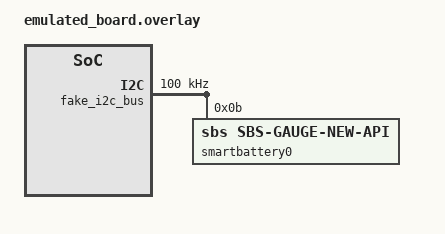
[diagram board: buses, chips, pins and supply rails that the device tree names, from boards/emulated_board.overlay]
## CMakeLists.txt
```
# SPDX-License-Identifier: Apache-2.0

cmake_minimum_required(VERSION 3.28.0)
find_package(Zephyr REQUIRED HINTS $ENV{ZEPHYR_BASE})
project(device)

target_sources(app PRIVATE src/test_sbs_gauge.c)
target_sources_ifndef(CONFIG_TEST_SBS_CUTOFF_EXTENSION app PRIVATE src/test_cutoff_disabled.c)
target_sources_ifdef(CONFIG_TEST_SBS_CUTOFF_EXTENSION app PRIVATE src/test_cutoff.c)

target_include_directories(app PRIVATE include)
```

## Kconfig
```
# Copyright 2023 Google LLC
#
# SPDX-License-Identifier: Apache-2.0

source "Kconfig.zephyr"

config TEST_SBS_CUTOFF_EXTENSION
	bool "Test Battery Cutoff"
	help
	  Enabling this option adds test sources that verify if the battery cutoff extension to the
	  SBS driver are functional.
```

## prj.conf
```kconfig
CONFIG_ZTEST=y
CONFIG_ZTEST_NEW_API=y
CONFIG_I2C=y
CONFIG_TEST_USERSPACE=y
CONFIG_LOG=y
CONFIG_SENSOR=y

CONFIG_FUEL_GAUGE=y
```

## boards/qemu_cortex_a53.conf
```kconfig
emulated_board.conf
```

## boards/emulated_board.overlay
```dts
/*
 * Copyright (c) 2023 Google LLC
 *
 * SPDX-License-Identifier: Apache-2.0
 */

#include <zephyr/dt-bindings/i2c/i2c.h>

/ {
	fake_i2c_bus: i2c@100 {
		compatible = "zephyr,i2c-emul-controller";
		reg = <0x100 4>;
		clock-frequency = <I2C_BITRATE_STANDARD>;
		#address-cells = <1>;
		#size-cells = <0>;
		status = "okay";
	};
};

&fake_i2c_bus {
	compatible = "zephyr,i2c-emul-controller";
	clock-frequency = <I2C_BITRATE_STANDARD>;

	smartbattery0: smartbattery@b {
		compatible = "sbs,sbs-gauge-new-api";
		reg = <0x0b>;
		status = "okay";
	};
};
```

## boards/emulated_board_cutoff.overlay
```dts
/*
 * Copyright (c) 2023 Google LLC
 *
 * SPDX-License-Identifier: Apache-2.0
 */

#include <zephyr/dt-bindings/i2c/i2c.h>

/ {
	fake_i2c_bus: i2c@100 {
		compatible = "zephyr,i2c-emul-controller";
		reg = <0x100 4>;
		clock-frequency = <I2C_BITRATE_STANDARD>;
		#address-cells = <1>;
		#size-cells = <0>;
		status = "okay";
	};
};

&fake_i2c_bus {
	compatible = "zephyr,i2c-emul-controller";
	clock-frequency = <I2C_BITRATE_STANDARD>;

	smartbattery0: smartbattery@b {
		compatible = "sbs,default-sbs-gauge", "sbs,sbs-gauge-new-api";
		reg = <0x0b>;
		battery-cutoff-support;
		battery-cutoff-payload = <0x0010 0x0020>;
		status = "okay";
	};
};
```

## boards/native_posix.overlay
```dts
/*
 * Copyright (c) 2022 Leica Geosystems AG
 *
 * SPDX-License-Identifier: Apache-2.0
 */

&i2c0 {
	clock-frequency = <I2C_BITRATE_STANDARD>;
	smartbattery: sbs_gauge@b {
		compatible = "sbs,sbs-gauge-new-api";
		reg = <0x0B>;
		status = "okay";
	};
};
```

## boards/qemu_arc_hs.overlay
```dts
/*
 * Copyright (c) 2023 Google LLC
 *
 * SPDX-License-Identifier: Apache-2.0
 */

#include <zephyr/dt-bindings/i2c/i2c.h>

/ {
	/* qemu_cortex_a9 board isn't configured with an I2C node */
	fake_i2c_bus: i2c@100 {
		status = "okay";
		compatible = "zephyr,i2c-emul-controller";
		clock-frequency = <I2C_BITRATE_STANDARD>;
		#address-cells = <1>;
		#size-cells = <0>;
		reg = <0x100 4>;
	};
};

&fake_i2c_bus {
	clock-frequency = <I2C_BITRATE_STANDARD>;
	compatible = "zephyr,i2c-emul-controller";
	smartbattery0: smartbattery@b {
		compatible = "sbs,sbs-gauge-new-api";
		reg = <0x0B>;
		status = "okay";
	};
};
```

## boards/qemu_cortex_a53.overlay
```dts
/*
 * Copyright (c) 2023 Google LLC
 *
 * SPDX-License-Identifier: Apache-2.0
 */

#include <zephyr/dt-bindings/i2c/i2c.h>

/ {
	fake_i2c_bus: i2c@100 {
		compatible = "zephyr,i2c-emul-controller";
		/*
		 * qemu_cortex_a53 SoC requires a 64 bit child addresses (reg properties)
		 * See its /soc #address-cells & #size-cells properties.
		 */
		reg = <0x0 0x100 0 4>;
		clock-frequency = <I2C_BITRATE_STANDARD>;
		#address-cells = <1>;
		#size-cells = <0>;
		status = "okay";
	};
};

&fake_i2c_bus {
	compatible = "zephyr,i2c-emul-controller";
	clock-frequency = <I2C_BITRATE_STANDARD>;

	smartbattery0: smartbattery@b {
		compatible = "sbs,sbs-gauge-new-api";
		reg = <0x0b>;
		status = "okay";
	};
};
```

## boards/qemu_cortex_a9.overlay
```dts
/*
 * Copyright (c) 2022 Google LLC
 *
 * SPDX-License-Identifier: Apache-2.0
 */

#include <zephyr/dt-bindings/i2c/i2c.h>

/ {
	/* qemu_cortex_a9 board isn't configured with an I2C node */
	fake_i2c_bus: i2c@100 {
		status = "okay";
		compatible = "zephyr,i2c-emul-controller";
		clock-frequency = <I2C_BITRATE_STANDARD>;
		#address-cells = <1>;
		#size-cells = <0>;
		reg = <0x100 4>;
	};
};

&fake_i2c_bus {
	clock-frequency = <I2C_BITRATE_STANDARD>;
	compatible = "zephyr,i2c-emul-controller";
	smartbattery0: smartbattery@b {
		compatible = "sbs,sbs-gauge-new-api";
		reg = <0x0B>;
		status = "okay";
	};
};
```

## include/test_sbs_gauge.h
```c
/*
 * Copyright 2023 Google LLC
 *
 * SPDX-License-Identifier: Apache-2.0
 */

#include <zephyr/device.h>
#include <zephyr/drivers/fuel_gauge.h>

struct sbs_gauge_new_api_fixture {
	const struct device *dev;
	const struct emul *sbs_fuel_gauge;
	const struct fuel_gauge_driver_api *api;
};
```

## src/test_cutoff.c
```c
/*
 * Copyright 2023 Google LLC
 *
 * SPDX-License-Identifier: Apache-2.0
 */

#include <stdbool.h>
#include <zephyr/device.h>
#include <zephyr/drivers/fuel_gauge.h>
#include <zephyr/drivers/emul_fuel_gauge.h>
#include <zephyr/ztest.h>
#include <zephyr/ztest_assert.h>

#include <test_sbs_gauge.h>

ZTEST_F(sbs_gauge_new_api, test_cutoff)
{
	bool is_cutoff;

	/* Initially there should be no cutoff */
	zassert_ok(emul_fuel_gauge_is_battery_cutoff(fixture->sbs_fuel_gauge, &is_cutoff));
	zassert_false(is_cutoff);

	zassert_ok(fuel_gauge_battery_cutoff(fixture->dev));

	/* Now we should've cutoff */
	zassert_ok(emul_fuel_gauge_is_battery_cutoff(fixture->sbs_fuel_gauge, &is_cutoff));
	zassert_true(is_cutoff);
}
```

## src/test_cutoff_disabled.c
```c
/*
 * Copyright 2023 Google LLC
 *
 * SPDX-License-Identifier: Apache-2.0
 */

#include <stdbool.h>
#include <zephyr/device.h>
#include <zephyr/drivers/fuel_gauge.h>
#include <zephyr/drivers/emul_fuel_gauge.h>
#include <zephyr/ztest.h>
#include <zephyr/ztest_assert.h>

#include "test_sbs_gauge.h"

ZTEST_F(sbs_gauge_new_api, test_cutoff_disabled)
{
	bool is_cutoff;

	/* Initially there should be no cutoff */
	zassert_ok(emul_fuel_gauge_is_battery_cutoff(fixture->sbs_fuel_gauge, &is_cutoff));
	zassert_false(is_cutoff);

	zassert_not_equal(fuel_gauge_battery_cutoff(fixture->dev), 0);

	/* We confirm there was no cutoff */
	zassert_ok(emul_fuel_gauge_is_battery_cutoff(fixture->sbs_fuel_gauge, &is_cutoff));
	zassert_false(is_cutoff);
}
```

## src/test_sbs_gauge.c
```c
/*
 * Copyright 2022 Google LLC
 * Copyright 2023 Microsoft Corporation
 *
 * SPDX-License-Identifier: Apache-2.0
 */

#include <zephyr/device.h>
#include <zephyr/drivers/emul.h>
#include <zephyr/drivers/emul_fuel_gauge.h>
#include <zephyr/drivers/fuel_gauge.h>
#include <zephyr/drivers/i2c.h>
#include <zephyr/logging/log.h>
#include <zephyr/sys/byteorder.h>
#include <zephyr/sys/util.h>
#include <zephyr/ztest.h>
#include <zephyr/ztest_assert.h>

#include "test_sbs_gauge.h"

static void *sbs_gauge_new_api_setup(void)
{
	static ZTEST_DMEM struct sbs_gauge_new_api_fixture fixture;

	fixture.dev = DEVICE_DT_GET_ANY(sbs_sbs_gauge_new_api);
	fixture.sbs_fuel_gauge = EMUL_DT_GET(DT_NODELABEL(smartbattery0));

	k_object_access_all_grant(fixture.dev);

	zassert_true(device_is_ready(fixture.dev), "Fuel Gauge not found");

	return &fixture;
}

ZTEST_USER_F(sbs_gauge_new_api, test_get_some_props_failed_returns_bad_status)
{
	fuel_gauge_prop_t prop_types[] = {
		/* First invalid property */
		FUEL_GAUGE_PROP_MAX,
		/* Second invalid property */
		FUEL_GAUGE_PROP_MAX,
		/* Valid property */
		FUEL_GAUGE_VOLTAGE_UV,
	};
	union fuel_gauge_prop_val props[ARRAY_SIZE(prop_types)];

	int ret = fuel_gauge_get_props(fixture->dev, prop_types, props, ARRAY_SIZE(props));

	zassert_equal(ret, -ENOTSUP, "Getting bad property has a good status.");
}

ZTEST_USER_F(sbs_gauge_new_api, test_set_all_props_failed_returns_err)
{
	fuel_gauge_prop_t prop_types[] = {
		/* Invalid property */
		FUEL_GAUGE_PROP_MAX,
	};
	union fuel_gauge_prop_val props[ARRAY_SIZE(prop_types)] = {{.avg_current_ua = 0}};

	int ret = fuel_gauge_set_props(fixture->dev, prop_types, props, ARRAY_SIZE(props));

	zassert_equal(ret, -ENOTSUP);
}

ZTEST_USER_F(sbs_gauge_new_api, test_set_some_props_failed_returns_err)
{
	fuel_gauge_prop_t prop_types[] = {
		/* First invalid property */
		FUEL_GAUGE_PROP_MAX,
		/* Second invalid property */
		FUEL_GAUGE_PROP_MAX,
		/* Valid property */
		FUEL_GAUGE_SBS_MFR_ACCESS,
		/* Set Manufacturer's Access to arbitrary word */

	};

	union fuel_gauge_prop_val props[] = {
		/* First invalid property */
		{.avg_current_ua = 0},
		/* Second invalid property */
		{.avg_current_ua = 0},
		/* Valid property */
		/* Set Manufacturer's Access to arbitrary word */
		{.sbs_mfr_access_word = 1},
	};

	int ret = fuel_gauge_set_props(fixture->dev, prop_types, props, ARRAY_SIZE(props));

	zassert_equal(ret, -ENOTSUP);
}

ZTEST_USER_F(sbs_gauge_new_api, test_set_prop_can_be_get)
{
	uint16_t word = BIT(15) | BIT(0);

	fuel_gauge_prop_t prop_types[] = {
		FUEL_GAUGE_SBS_MFR_ACCESS,
		FUEL_GAUGE_SBS_REMAINING_CAPACITY_ALARM,
		FUEL_GAUGE_SBS_REMAINING_TIME_ALARM_MINS,
		FUEL_GAUGE_SBS_MODE,
		FUEL_GAUGE_SBS_ATRATE,
	};

	union fuel_gauge_prop_val set_props[] = {
		{
			.sbs_mfr_access_word = word,
		},
		{
			.sbs_remaining_capacity_alarm = word,
		},
		{
			.sbs_remaining_time_alarm_mins = word,
		},
		{
			.sbs_mode = word,
		},
		{
			.sbs_at_rate = (int16_t)word,
		},
	};

	union fuel_gauge_prop_val get_props[ARRAY_SIZE(prop_types)];

	zassert_ok(
		fuel_gauge_set_props(fixture->dev, prop_types, set_props, ARRAY_SIZE(set_props)));

	zassert_ok(
		fuel_gauge_get_props(fixture->dev, prop_types, get_props, ARRAY_SIZE(get_props)));

	zassert_equal(get_props[0].sbs_mfr_access_word, word);
	zassert_equal(get_props[1].sbs_remaining_capacity_alarm, word);
	zassert_equal(get_props[2].sbs_remaining_time_alarm_mins, word);
	zassert_equal(get_props[3].sbs_mode, word);
	zassert_equal(get_props[4].sbs_at_rate, (int16_t)word);
}

ZTEST_USER_F(sbs_gauge_new_api, test_get_props__returns_ok)
{
	/* Validate what props are supported by the driver */

	fuel_gauge_prop_t prop_types[] = {
		FUEL_GAUGE_VOLTAGE_UV,
		FUEL_GAUGE_CURRENT_UA,
		FUEL_GAUGE_AVG_CURRENT_UA,
		FUEL_GAUGE_TEMPERATURE_DK,
		FUEL_GAUGE_ABSOLUTE_STATE_OF_CHARGE_PCT,
		FUEL_GAUGE_RELATIVE_STATE_OF_CHARGE_PCT,
		FUEL_GAUGE_RUNTIME_TO_FULL_MINS,
		FUEL_GAUGE_RUNTIME_TO_EMPTY_MINS,
		FUEL_GAUGE_REMAINING_CAPACITY,
		FUEL_GAUGE_FULL_CHARGE_CAPACITY,
		FUEL_GAUGE_CYCLE_COUNT,
		FUEL_GAUGE_SBS_MFR_ACCESS,
		FUEL_GAUGE_SBS_MODE,
		FUEL_GAUGE_CHARGE_CURRENT_UA,
		FUEL_GAUGE_CHARGE_VOLTAGE_UV,
		FUEL_GAUGE_STATUS,
		FUEL_GAUGE_DESIGN_CAPACITY,
		FUEL_GAUGE_DESIGN_VOLTAGE_MV,
		FUEL_GAUGE_SBS_ATRATE,
		FUEL_GAUGE_SBS_ATRATE_TIME_TO_FULL_MINS,
		FUEL_GAUGE_SBS_ATRATE_TIME_TO_EMPTY_MINS,
		FUEL_GAUGE_SBS_ATRATE_OK,
		FUEL_GAUGE_SBS_REMAINING_CAPACITY_ALARM,
		FUEL_GAUGE_SBS_REMAINING_TIME_ALARM_MINS,
	};

	union fuel_gauge_prop_val props[ARRAY_SIZE(prop_types)];

	zassert_ok(fuel_gauge_get_props(fixture->dev, prop_types, props, ARRAY_SIZE(props)));
}

ZTEST_USER_F(sbs_gauge_new_api, test_set_props__returns_ok)
{
	fuel_gauge_prop_t prop_types[] = {
		FUEL_GAUGE_SBS_MFR_ACCESS,
		FUEL_GAUGE_SBS_MODE,
		FUEL_GAUGE_SBS_ATRATE,
		FUEL_GAUGE_SBS_REMAINING_TIME_ALARM_MINS,
		FUEL_GAUGE_SBS_REMAINING_CAPACITY_ALARM,

	};
	union fuel_gauge_prop_val props[ARRAY_SIZE(prop_types)] = {{.avg_current_ua = 0}};

	zassert_ok(fuel_gauge_set_props(fixture->dev, prop_types, props, ARRAY_SIZE(props)));
}

ZTEST_USER_F(sbs_gauge_new_api, test_get_buffer_props__returns_ok)
{
	/* Validate what properties are supported by the driver */
	struct sbs_gauge_manufacturer_name mfg_name;
	struct sbs_gauge_device_name dev_name;
	struct sbs_gauge_device_chemistry chem;

	zassert_ok(fuel_gauge_get_buffer_prop(fixture->dev, FUEL_GAUGE_MANUFACTURER_NAME, &mfg_name,
					      sizeof(mfg_name)));

	zassert_ok(fuel_gauge_get_buffer_prop(fixture->dev, FUEL_GAUGE_DEVICE_NAME, &dev_name,
					      sizeof(dev_name)));

	zassert_ok(fuel_gauge_get_buffer_prop(fixture->dev, FUEL_GAUGE_DEVICE_CHEMISTRY, &chem,
					      sizeof(chem)));
}

ZTEST_USER_F(sbs_gauge_new_api, test_set_buffer_prop__returns_enosys)
{
	/* The SBS gauge driver does not implement the set_buffer_property callback */
	struct sbs_gauge_manufacturer_name mfg_name = {0};

	zassert_equal(fuel_gauge_set_buffer_prop(fixture->dev, FUEL_GAUGE_MANUFACTURER_NAME,
						 &mfg_name, sizeof(mfg_name)),
		      -ENOSYS);
}

ZTEST_USER_F(sbs_gauge_new_api, test_charging_5v_3a)
{
	uint32_t expected_uV = 5000 * 1000;
	int32_t expected_uA = 3000 * 1000;

	union fuel_gauge_prop_val voltage;
	union fuel_gauge_prop_val current;

	zassume_ok(emul_fuel_gauge_set_battery_charging(fixture->sbs_fuel_gauge, expected_uV,
							expected_uA));
	zassert_ok(fuel_gauge_get_prop(fixture->dev, FUEL_GAUGE_VOLTAGE_UV, &voltage));
	zassert_ok(fuel_gauge_get_prop(fixture->dev, FUEL_GAUGE_CURRENT_UA, &current));

	zassert_equal(voltage.voltage_uv, expected_uV, "Got %d instead of %d", voltage.voltage_uv,
		      expected_uV);
	zassert_equal(current.current_ua, expected_uA, "Got %d instead of %d", current.current_ua,
		      expected_uA);
}

ZTEST_USER_F(sbs_gauge_new_api, test_charging_5v_neg_1a)
{
	uint32_t expected_uV = 5000 * 1000;
	int32_t expected_uA = -1000 * 1000;

	union fuel_gauge_prop_val voltage;
	union fuel_gauge_prop_val current;

	zassume_ok(emul_fuel_gauge_set_battery_charging(fixture->sbs_fuel_gauge, expected_uV,
							expected_uA));
	zassert_ok(fuel_gauge_get_prop(fixture->dev, FUEL_GAUGE_VOLTAGE_UV, &voltage));
	zassert_ok(fuel_gauge_get_prop(fixture->dev, FUEL_GAUGE_CURRENT_UA, &current));

	zassert_equal(voltage.voltage_uv, expected_uV, "Got %d instead of %d", voltage.voltage_uv,
		      expected_uV);
	zassert_equal(current.current_ua, expected_uA, "Got %d instead of %d", current.current_ua,
		      expected_uA);
}

ZTEST_USER_F(sbs_gauge_new_api, test_set_get_single_prop)
{
	uint16_t test_value = 0x1001;

	union fuel_gauge_prop_val mfr_acc_set = {
		.sbs_mfr_access_word = test_value,
	};
	union fuel_gauge_prop_val mfr_acc_get;

	zassert_ok(fuel_gauge_set_prop(fixture->dev, FUEL_GAUGE_SBS_MFR_ACCESS, mfr_acc_set));
	zassert_ok(fuel_gauge_get_prop(fixture->dev, FUEL_GAUGE_SBS_MFR_ACCESS, &mfr_acc_get));
	zassert_equal(mfr_acc_get.sbs_mfr_access_word, test_value);
}

ZTEST_SUITE(sbs_gauge_new_api, NULL, sbs_gauge_new_api_setup, NULL, NULL, NULL);
```
